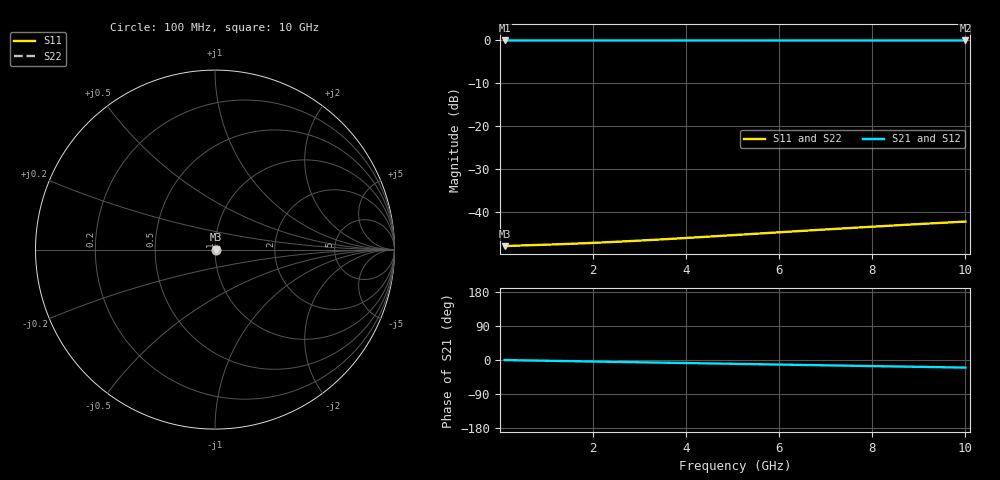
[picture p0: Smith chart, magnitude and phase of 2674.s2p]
# Hz S RI R 50.00
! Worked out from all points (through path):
!   100 points, 100 MHz to 10 GHz, reference 50 ohm
!   highest |S21| = -0.04 dB at 100 MHz (marker M1); lowest = 0.0 dB at 10 GHz (marker M2)
!   group delay of S21, straight-line fit = 5.57 ps
!   lowest |S11| = -47.8 dB at 100 MHz (marker M3), VSWR 1.01, Z = 50.4 + j0.0054 ohm
!   |S11| at or under -10 dB: start of sweep to end of sweep
!   |S22| runs from -47.8 to -42.1 dB; largest |S21 - S12| = 0
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1e8  0.00406 5.36e-05  0.9959 -0.00348  0.9959 -0.00348  0.00406 5.36e-05
2e8  0.00408 0.000107  0.9959 -0.00696  0.9959 -0.00696  0.00408 0.000107
3e8  0.0041 0.00016  0.9958 -0.0104  0.9958 -0.0104  0.0041 0.00016
5e8  0.00413 0.000267  0.9957 -0.0174  0.9957 -0.0174  0.00413 0.000267
9e8  0.00418 0.000478  0.9953 -0.0313  0.9953 -0.0313  0.00418 0.000478
1.2e9  0.00421 0.000636  0.9949 -0.0418  0.9949 -0.0418  0.00421 0.000636
1.5e9  0.00425 0.000793  0.9944 -0.0522  0.9944 -0.0522  0.00425 0.000793
1.8e9  0.00428 0.00095  0.9938 -0.0626  0.9938 -0.0626  0.00428 0.00095
2.2e9  0.00433 0.00116  0.9927 -0.0765  0.9927 -0.0765  0.00433 0.00116
2.6e9  0.00439 0.00136  0.9916 -0.0904  0.9916 -0.0904  0.00439 0.00136
3e9  0.00444 0.00157  0.9902 -0.1042  0.9902 -0.1042  0.00444 0.00157
3.4e9  0.00451 0.00177  0.9886 -0.1181  0.9886 -0.1181  0.00451 0.00177
3.7e9  0.00456 0.00192  0.9873 -0.1285  0.9873 -0.1285  0.00456 0.00192
4.1e9  0.00463 0.00211  0.9853 -0.1423  0.9853 -0.1423  0.00463 0.00211
4.6e9  0.00473 0.00236  0.9827 -0.1595  0.9827 -0.1595  0.00473 0.00236
5.1e9  0.00484 0.00259  0.9797 -0.1766  0.9797 -0.1766  0.00484 0.00259
5.9e9  0.00503 0.00296  0.9743 -0.204  0.9743 -0.204  0.00503 0.00296
6.7e9  0.00524 0.00332  0.9682 -0.2312  0.9682 -0.2312  0.00524 0.00332
7.6e9  0.00551 0.0037  0.9604 -0.2616  0.9604 -0.2616  0.00551 0.0037
8.4e9  0.00576 0.00403  0.9526 -0.2884  0.9526 -0.2884  0.00576 0.00403
9.2e9  0.00604 0.00433  0.9441 -0.315  0.9441 -0.315  0.00604 0.00433
1e10  0.00633 0.00462  0.9348 -0.3413  0.9348 -0.3413  0.00633 0.00462
